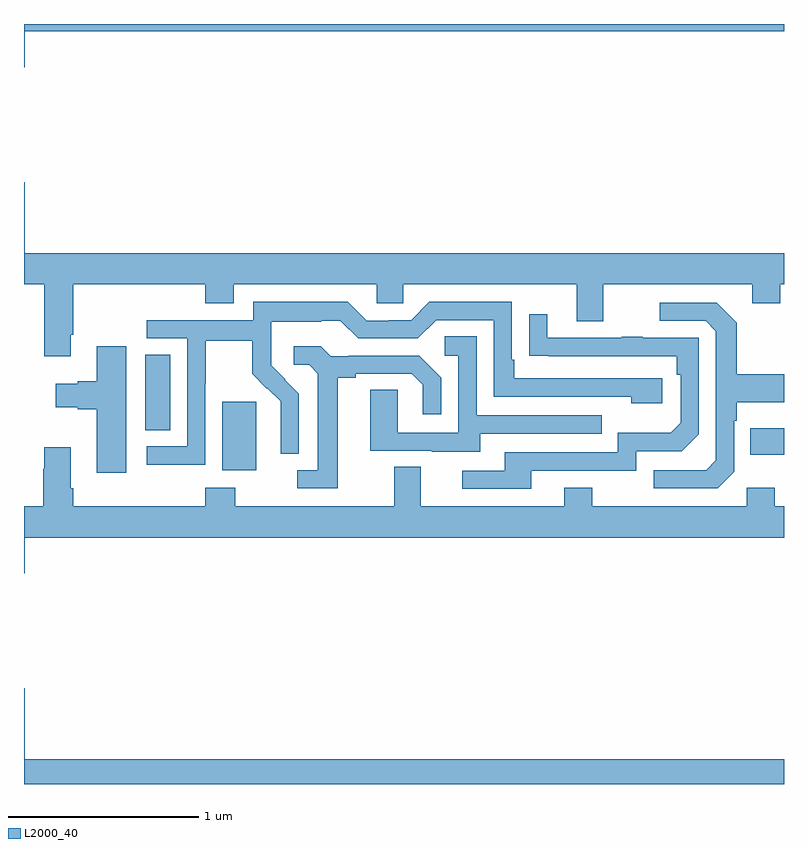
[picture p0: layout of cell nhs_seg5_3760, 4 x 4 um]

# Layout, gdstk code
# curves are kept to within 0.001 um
import gdstk
lib = gdstk.Library(unit=1e-6, precision=1e-09)
def R(c, l, rs):  # rectangles x0, y0, x1, y1
    for r in rs: c.add(gdstk.rectangle(r[:2], r[2:], *l))
def P(c, l, *ps):  # polygons
    for p in ps: c.add(gdstk.Polygon(p, *l))
L2000_40 = (2000, 40)

nhs_seg5_3760 = lib.new_cell('nhs_seg5_3760')
R(nhs_seg5_3760, L2000_40, [(334.043,854.45,334.222,854.811), (336.823,854.531,337,854.671), (333.638,854.662,333.769,855.059)])
P(nhs_seg5_3760, L2000_40, [(337,856.799),(333,856.799),(333,856.572),(333.004,856.572),(333.004,856.76),(337,856.76)],
  [(333.247,855.163),(333.26,855.163),(333.26,855.428),(333.953,855.428),(333.953,855.329),(334.105,855.329),(334.105,855.428),(334.857,855.428),(334.857,855.33),(334.995,855.33),(334.995,855.428),(335.909,855.428),(335.909,855.234),(336.049,855.234),(336.049,855.428),(336.833,855.428),(336.833,855.329),(336.981,855.329),(336.981,855.428),(337,855.428),(337,855.592),(333.004,855.592),(333.004,855.967),(333,855.967),(333,855.428),(333.107,855.428),(333.107,855.051),(333.247,855.051)],
  [(333.954,854.908),(333.957,854.908),(333.957,855.132),(334.201,855.132),(334.201,854.957),(334.278,854.88),(334.281,854.883),(334.352,854.813),(334.352,854.69),(334.35,854.69),(334.35,854.536),(334.446,854.536),(334.446,854.854),(334.3,855.002),(334.3,855.099),(334.302,855.099),(334.302,855.233),(334.565,855.233),(334.565,855.237),(334.665,855.237),(334.758,855.144),(335.073,855.144),(335.169,855.24),(335.472,855.24),(335.472,854.838),(336.197,854.838),(336.197,854.804),(336.358,854.804),(336.358,854.934),(335.581,854.934),(335.581,855.031),(335.568,855.031),(335.568,855.336),(335.133,855.336),(335.037,855.24),(334.919,855.24),(334.919,855.237),(334.803,855.237),(334.703,855.337),(334.206,855.337),(334.206,855.24),(333.645,855.24),(333.645,855.144),(333.858,855.144),(333.858,854.577),(333.645,854.577),(333.645,854.479),(333.954,854.479)],
  [(336.738,854.442),(336.738,854.711),(336.751,854.711),(336.751,854.807),(337,854.807),(337,854.955),(336.751,854.955),(336.751,855.227),(336.645,855.333),(336.345,855.333),(336.345,855.237),(336.588,855.237),(336.642,855.183),(336.642,854.502),(336.591,854.451),(336.315,854.451),(336.315,854.355),(336.651,854.355)],
  [(335.671,854.448),(336.222,854.448),(336.222,854.55),(336.462,854.55),(336.552,854.64),(336.552,855.147),(336.257,855.147),(336.257,855.152),(336.145,855.152),(336.145,855.147),(335.755,855.147),(335.755,855.271),(335.659,855.271),(335.659,855.052),(336.436,855.051),(336.436,854.954),(336.456,854.954),(336.456,854.7),(336.403,854.647),(336.126,854.647),(336.126,854.544),(335.531,854.544),(335.531,854.448),(335.307,854.448),(335.307,854.352),(335.671,854.352)],
  [(335.401,854.643),(336.041,854.643),(336.041,854.739),(335.382,854.739),(335.382,855.155),(335.214,855.155),(335.214,855.054),(335.286,855.054),(335.286,854.649),(334.968,854.649),(334.968,854.873),(334.823,854.873),(334.823,854.553),(335.147,854.553),(335.147,854.549),(335.401,854.549)],
  [(334.651,854.936),(334.747,854.936),(334.747,854.958),(335.042,854.958),(335.099,854.901),(335.099,854.745),(335.196,854.745),(335.196,854.938),(335.08,855.054),(334.708,855.054),(334.708,855.051),(334.614,855.051),(334.562,855.103),(334.419,855.103),(334.419,855.006),(334.5,855.006),(334.547,854.959),(334.547,854.451),(334.437,854.451),(334.437,854.355),(334.651,854.355)],
  [(333.538,855.103),(333.383,855.103),(333.383,854.918),(333.284,854.918),(333.284,854.905),(333.168,854.905),(333.168,854.783),(333.284,854.783),(333.284,854.771),(333.383,854.771),(333.383,854.436),(333.538,854.436)],
  [(337,854.26),(336.951,854.26),(336.951,854.359),(336.804,854.359),(336.804,854.26),(335.991,854.26),(335.991,854.359),(335.843,854.359),(335.843,854.26),(335.089,854.26),(335.089,854.468),(334.949,854.468),(334.949,854.26),(334.113,854.26),(334.113,854.359),(333.953,854.359),(333.953,854.26),(333.26,854.26),(333.26,854.356),(333.247,854.356),(333.247,854.572),(333.107,854.572),(333.107,854.459),(333.1,854.459),(333.1,854.26),(333,854.26),(333,853.908),(333.004,853.908),(333.004,854.096),(337,854.096)],
  [(337,852.928),(333.004,852.928),(333.004,853.303),(333,853.303),(333,852.799),(337,852.799)])

lib.write_gds('nhs_seg5_3760.gds')
